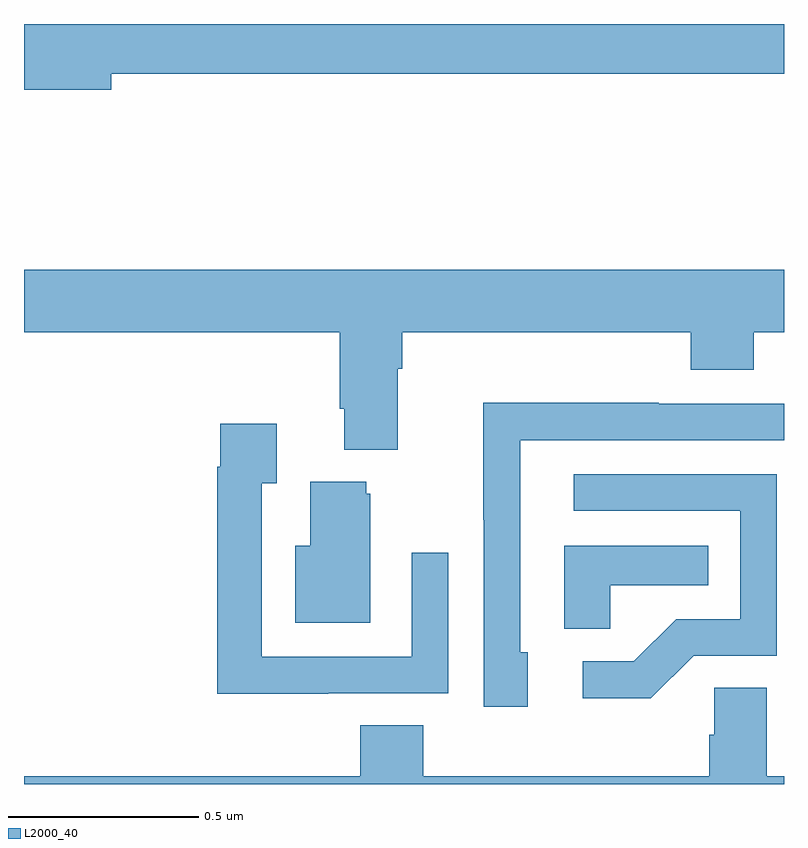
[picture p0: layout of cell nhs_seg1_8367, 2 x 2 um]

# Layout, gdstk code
import gdstk
lib = gdstk.Library(unit=1e-6, precision=1e-09)
def P(c, l, *ps):  # polygons
    for p in ps: c.add(gdstk.Polygon(p, *l))
L2000_40 = (2000, 40)

nhs_seg1_8367 = lib.new_cell('nhs_seg1_8367')
P(nhs_seg1_8367, L2000_40, [(215.23,563.068),(217,563.068),(217,563.199),(215,563.199),(215,563.026),(215.23,563.026)],
  [(215.983,562.292),(215.996,562.292),(215.996,562.388),(216.755,562.388),(216.755,562.289),(216.92,562.289),(216.92,562.388),(217,562.388),(217,562.552),(215,562.552),(215,562.388),(215.831,562.388),(215.831,562.186),(215.843,562.186),(215.843,562.079),(215.983,562.079)],
  [(216.325,561.546),(216.306,561.546),(216.306,562.104),(217,562.104),(217,562.2),(216.671,562.2),(216.671,562.202),(216.208,562.202),(216.208,561.895),(216.21,561.895),(216.21,561.402),(216.325,561.402)],
  [(215.801,561.438),(216.117,561.438),(216.117,561.808),(216.021,561.808),(216.021,561.534),(215.625,561.534),(215.625,561.991),(215.665,561.991),(215.665,562.147),(215.517,562.147),(215.517,562.034),(215.509,562.034),(215.509,561.437),(215.801,561.437)],
  [(216.762,561.537),(216.981,561.537),(216.981,562.014),(216.447,562.014),(216.447,561.918),(216.885,561.918),(216.885,561.633),(216.716,561.633),(216.605,561.522),(216.471,561.522),(216.471,561.425),(216.649,561.425)],
  [(215.911,561.963),(215.9,561.963),(215.9,561.994),(215.753,561.994),(215.753,561.826),(215.714,561.826),(215.714,561.623),(215.911,561.623)],
  [(216.543,561.722),(216.8,561.722),(216.8,561.826),(216.422,561.826),(216.422,561.607),(216.543,561.607)],
  [(217,561.22),(216.955,561.22),(216.955,561.452),(216.816,561.452),(216.816,561.329),(216.803,561.329),(216.803,561.22),(216.05,561.22),(216.05,561.353),(215.885,561.353),(215.885,561.22),(215,561.22),(215,561.199),(217,561.199)])

lib.write_gds('nhs_seg1_8367.gds')
